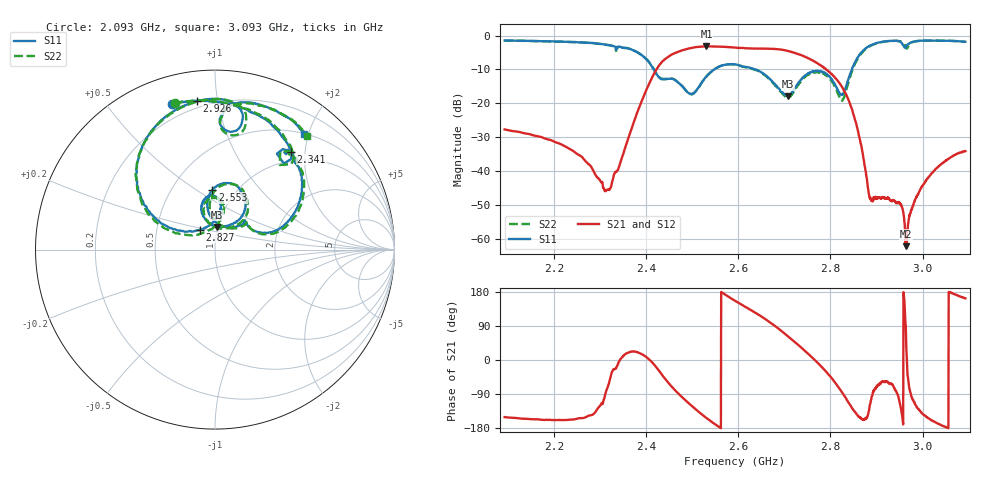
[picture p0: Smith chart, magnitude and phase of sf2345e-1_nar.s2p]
# Hz  S  RI  R  50
! ADVANTEST Corporation R3860A
! Date: Thu Oct 13 15:17:49 2016
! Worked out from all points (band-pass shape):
!   1601 points, 2.093 GHz to 3.093 GHz, reference 50 ohm
!   highest |S21| = -3.17 dB at 2.531 GHz (marker M1); lowest = -62.2 dB at 2.964 GHz (marker M2)
!   |S21| within 3 dB of the highest: 2.449 GHz to 2.744 GHz (295.4 MHz wide, 11.4 % of centre)
!   lowest |S11| = -17.9 dB at 2.709 GHz (marker M3), VSWR 1.29, Z = 49.3 + j12.7 ohm
!   |S11| at or under -10 dB: 2.417 GHz to 2.548 GHz (131.1 MHz wide, 5.28 % of centre); 2.637 GHz to 2.847 GHz (209.2 MHz wide, 7.63 % of centre)
!   |S22| runs from -19.2 to -1.4 dB; largest |S21 - S12| = 0.003
!   S11 on the Smith chart (normalised r, x): 2.093 GHz: 0.13, +0.74; 2.341 GHz: 0.83, +1.73; 2.553 GHz: 0.78, +0.58; 2.827 GHz: 0.83, +0.19; 2.926 GHz: 0.16, +0.87; 3.093 GHz: 0.51, +1.92
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2.093e9  -0.2412 0.8134  -0.036 -0.0202  -0.0359 -0.0201  -0.222 0.8161
2.259875e9  0.2052 0.7646  -0.0147 -0.00732  -0.0147 -0.0073  0.2294 0.7601
2.313625e9  0.3739 0.6298  0.000817 -0.00518  0.000865 -0.00519  0.3931 0.616
2.341125e9  0.423 0.5465  0.0115 -0.000892  0.0116 -0.000905  0.4399 0.5351
2.42675e9  0.2252 0.1028  0.3147 -0.1546  0.3141 -0.1551  0.2332 0.0945
2.477375e9  0.1264 0.1309  -0.0748 -0.5994  -0.0748 -0.5978  0.1346 0.124
2.501125e9  0.0319 0.1347  -0.3643 -0.5538  -0.3639 -0.5535  0.0392 0.1334
2.531125e9  -0.0428 0.2467  -0.6191 -0.3137  -0.6183 -0.3136  -0.03 0.2468
2.553e9  -0.0141 0.3327  -0.6817 -0.0947  -0.6814 -0.0939  0.00397 0.3321
2.593e9  0.1166 0.3586  -0.6097 0.2679  -0.6086 0.267  0.1379 0.3483
2.662375e9  0.1557 0.1959  -0.167 0.6192  -0.1658 0.6189  0.168 0.1801
2.708625e9  0.00915 0.1265  0.2812 0.5197  0.2813 0.519  0.0184 0.1195
2.759875e9  -0.0518 0.2875  0.4304 0.0545  0.4306 0.0536  -0.0343 0.2786
2.827375e9  -0.0834 0.1115  0.00194 -0.1639  0.00166 -0.1639  -0.0673 0.0941
2.857375e9  -0.3824 0.2399  -0.0367 -0.0269  -0.0367 -0.027  -0.3784 0.2094
2.88675e9  -0.3923 0.5975  -0.00176 -0.00368  -0.00172 -0.00371  -0.4002 0.5774
2.926125e9  -0.1004 0.8262  0.00192 -0.00351  0.00192 -0.00352  -0.1051 0.822
2.92675e9  -0.0957 0.8265  0.00192 -0.00339  0.00188 -0.00341  -0.1002 0.8231
2.953e9  0.1388 0.7847  -0.00195 -0.00261  -0.00197 -0.00264  0.1297 0.8082
2.963625e9  0.0483 0.6734  -1.7e-05 0.00078  -2.07e-05 0.000816  0.1535 0.6589
3.011125e9  0.2646 0.8023  -0.00691 -0.00367  -0.00692 -0.00374  0.2735 0.7974
3.093e9  0.4946 0.6436  -0.0189 0.00579  -0.0189 0.00581  0.5121 0.6311
